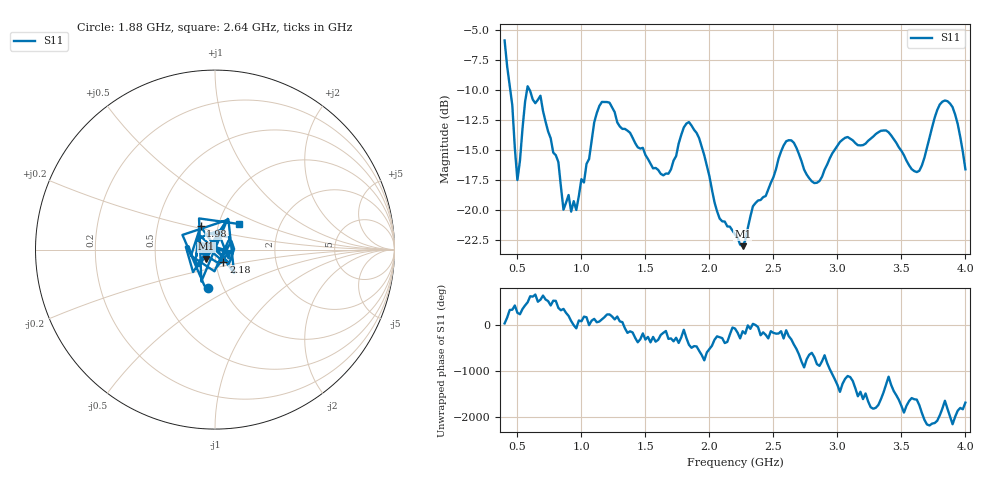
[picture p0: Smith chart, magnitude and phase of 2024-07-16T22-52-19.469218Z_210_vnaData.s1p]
!Created with skrf (http://scikit-rf.org).
# Hz S RI R 50.0
!freq ReS11 ImS11
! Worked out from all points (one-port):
!   181 points, 400 MHz to 4 GHz, reference 50 ohm
!   lowest |S11| = -23.1 dB at 2.26 GHz (marker M1), VSWR 1.15, Z = 45.1 - j4.58 ohm
!   |S11| at or under -10 dB: 444.2 MHz to 575.1 MHz (130.9 MHz wide, 25.7 % of centre); 595.8 MHz to end of sweep
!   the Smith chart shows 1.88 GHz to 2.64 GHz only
!   S11 on the Smith chart (normalised r, x): 1.88 GHz: 0.85, -0.38; 1.98 GHz: 0.82, +0.22; 2.18 GHz: 1.09, -0.15; 2.64 GHz: 1.25, +0.37
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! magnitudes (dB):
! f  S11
! 400 MHz  -5.9
! 460 MHz  -11.3
! 500 MHz  -17.5
! 580 MHz  -9.7
! 680 MHz  -10.5
! 820 MHz  -16.0
! 860 MHz  -20.0
! 960 MHz  -20.0
! 1.16 GHz  -11.0
! 1.3 GHz  -13.0
! 1.64 GHz  -17.1
! 1.76 GHz  -14.5
! 1.88 GHz  -13.3
! 1.98 GHz  -16.3
! 2.08 GHz  -20.7
! 2.18 GHz  -21.7
! 2.2 GHz  -22.1
! 2.26 GHz  -23.1
! 2.64 GHz  -14.2
! 2.66 GHz  -14.4
! 2.82 GHz  -17.8
! 3.1 GHz  -14.1
! 3.38 GHz  -13.4
! 3.56 GHz  -16.3
! 3.64 GHz  -16.8
! 3.84 GHz  -10.9
! 3.92 GHz  -12.1
! 4 GHz  -16.6
